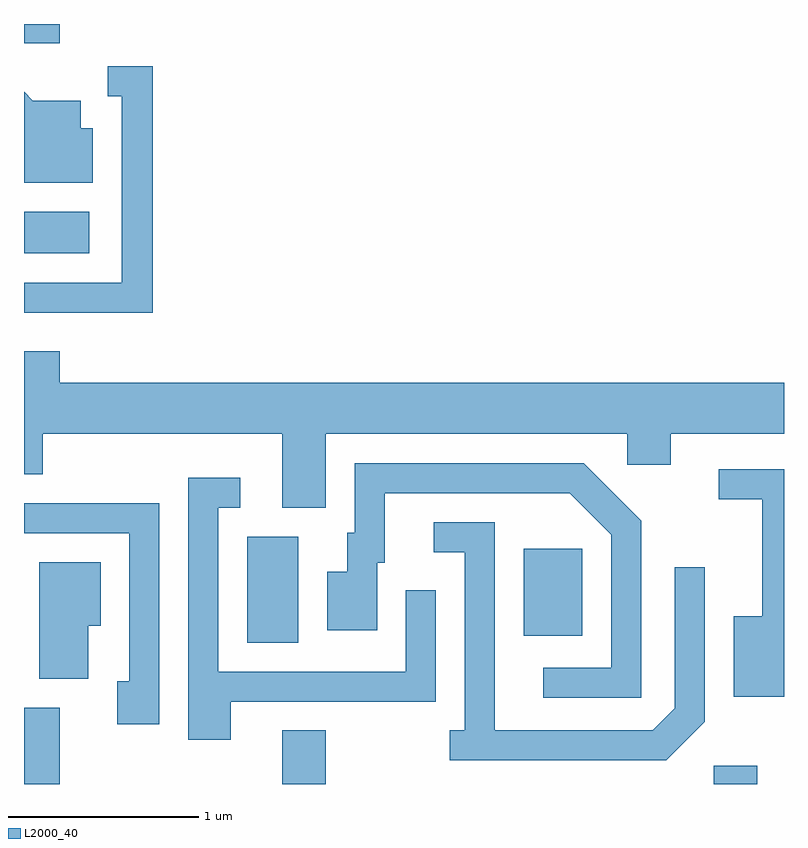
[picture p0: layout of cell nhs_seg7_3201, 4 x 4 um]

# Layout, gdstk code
import gdstk
lib = gdstk.Library(unit=1e-6, precision=1e-09)
def R(c, l, rs):  # rectangles x0, y0, x1, y1
    for r in rs: c.add(gdstk.rectangle(r[:2], r[2:], *l))
def P(c, l, *ps):  # polygons
    for p in ps: c.add(gdstk.Polygon(p, *l))
L2000_40 = (2000, 40)

nhs_seg7_3201 = lib.new_cell('nhs_seg7_3201')
R(nhs_seg7_3201, L2000_40, [(283.611,1710.252,283.799,1710.654), (284.971,1710.252,285.199,1710.534), (287.241,1710.252,287.469,1710.349), (284.786,1710.996,285.054,1711.554), (286.241,1711.031,286.549,1711.489), (283.611,1713.046,283.954,1713.264), (283.611,1714.151,283.799,1714.252)])
P(nhs_seg7_3201, L2000_40, [(284.289,1714.029),(284.053,1714.029),(284.053,1713.871),(284.126,1713.871),(284.126,1712.889),(283.611,1712.889),(283.611,1712.731),(284.289,1712.731)],
  [(283.974,1713.704),(283.909,1713.704),(283.909,1713.849),(283.657,1713.849),(283.611,1713.895),(283.611,1713.416),(283.974,1713.416)],
  [(285.199,1712.096),(286.786,1712.096),(286.786,1711.931),(287.014,1711.931),(287.014,1712.096),(287.611,1712.096),(287.611,1712.364),(283.799,1712.364),(283.799,1712.529),(283.611,1712.529),(283.611,1711.881),(283.709,1711.881),(283.709,1712.096),(284.971,1712.096),(284.971,1711.706),(285.199,1711.706)],
  [(286.859,1711.637),(286.557,1711.939),(285.351,1711.939),(285.351,1711.574),(285.311,1711.574),(285.311,1711.369),(285.206,1711.369),(285.206,1711.061),(285.469,1711.061),(285.469,1711.416),(285.509,1711.416),(285.509,1711.781),(286.484,1711.781),(286.701,1711.564),(286.701,1710.864),(286.343,1710.864),(286.343,1710.706),(286.859,1710.706)],
  [(287.611,1711.909),(287.268,1711.909),(287.268,1711.751),(287.496,1711.751),(287.496,1711.134),(287.346,1711.134),(287.346,1710.711),(287.611,1710.711)],
  [(284.699,1710.686),(285.779,1710.686),(285.779,1711.273),(285.621,1711.273),(285.621,1710.844),(284.634,1710.844),(284.634,1711.706),(284.748,1711.706),(284.748,1711.864),(284.476,1711.864),(284.476,1710.486),(284.699,1710.486)],
  [(284.324,1711.729),(283.611,1711.729),(283.611,1711.571),(284.166,1711.571),(284.166,1710.794),(284.101,1710.794),(284.101,1710.566),(284.324,1710.566)],
  [(287.194,1710.579),(287.194,1711.393),(287.036,1711.393),(287.036,1710.652),(286.919,1710.534),(286.089,1710.534),(286.089,1711.629),(285.768,1711.629),(285.768,1711.471),(285.931,1711.471),(285.931,1710.534),(285.853,1710.534),(285.853,1710.376),(286.992,1710.376)],
  [(283.949,1711.086),(284.014,1711.086),(284.014,1711.419),(283.691,1711.419),(283.691,1710.806),(283.949,1710.806)])

lib.write_gds('nhs_seg7_3201.gds')
